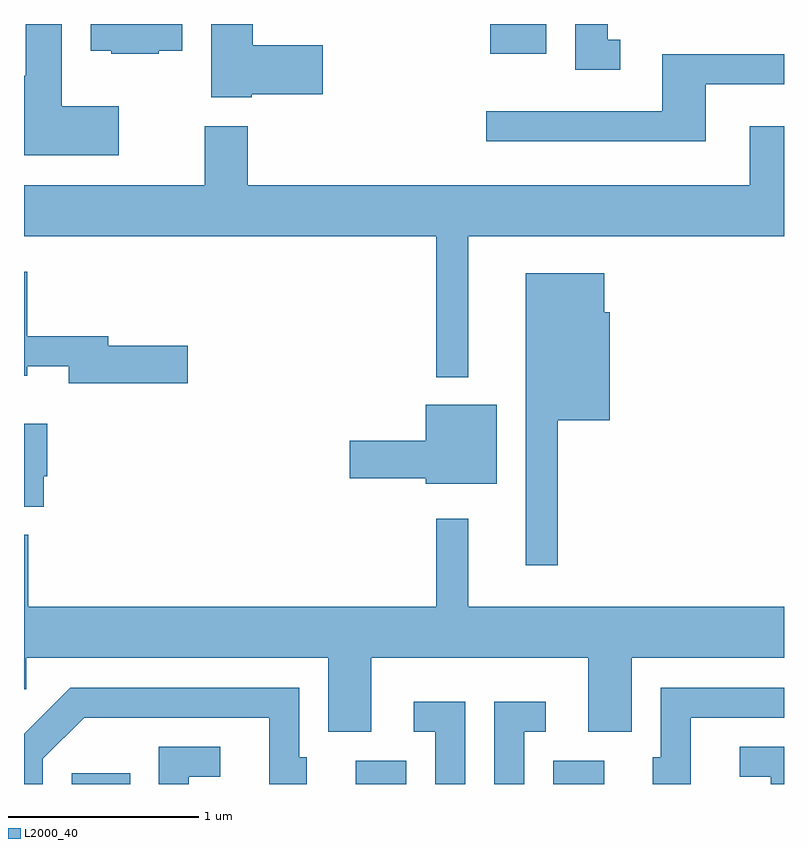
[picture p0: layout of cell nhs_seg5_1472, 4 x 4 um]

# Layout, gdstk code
import gdstk
lib = gdstk.Library(unit=1e-6, precision=1e-09)
def R(c, l, rs):  # rectangles x0, y0, x1, y1
    for r in rs: c.add(gdstk.rectangle(r[:2], r[2:], *l))
def P(c, l, *ps):  # polygons
    for p in ps: c.add(gdstk.Polygon(p, *l))
L2000_40 = (2000, 40)

nhs_seg5_1472 = lib.new_cell('nhs_seg5_1472')
R(nhs_seg5_1472, L2000_40, [(227.861,1516.072,228.169,1516.129), (229.356,1516.072,229.624,1516.194), (230.396,1516.072,230.664,1516.194), (230.066,1519.916,230.359,1520.072)])
P(nhs_seg5_1472, L2000_40, [(228.32,1519.931),(228.444,1519.931),(228.444,1520.072),(227.961,1520.072),(227.961,1519.931),(228.07,1519.931),(228.07,1519.916),(228.32,1519.916)],
  [(230.748,1519.989),(230.684,1519.989),(230.684,1520.072),(230.511,1520.072),(230.511,1519.831),(230.748,1519.831)],
  [(228.109,1519.639),(227.809,1519.639),(227.809,1520.072),(227.621,1520.072),(227.621,1519.799),(227.611,1519.799),(227.611,1519.381),(228.109,1519.381)],
  [(228.81,1519.701),(229.184,1519.701),(229.184,1519.959),(228.814,1519.959),(228.814,1520.072),(228.596,1520.072),(228.596,1519.686),(228.81,1519.686)],
  [(231.199,1519.756),(231.611,1519.756),(231.611,1519.914),(230.971,1519.914),(230.971,1519.614),(230.043,1519.614),(230.043,1519.456),(231.199,1519.456)],
  [(229.949,1518.956),(231.611,1518.956),(231.611,1519.534),(231.431,1519.534),(231.431,1519.224),(228.789,1519.224),(228.789,1519.534),(228.561,1519.534),(228.561,1519.224),(227.611,1519.224),(227.611,1518.956),(229.781,1518.956),(229.781,1518.213),(229.949,1518.213)],
  [(228.474,1518.379),(228.054,1518.379),(228.054,1518.429),(227.629,1518.429),(227.629,1518.768),(227.611,1518.768),(227.611,1518.221),(227.629,1518.221),(227.629,1518.271),(227.846,1518.271),(227.846,1518.181),(228.474,1518.181)],
  [(230.419,1517.986),(230.694,1517.986),(230.694,1518.554),(230.664,1518.554),(230.664,1518.759),(230.251,1518.759),(230.251,1517.223),(230.419,1517.223)],
  [(230.099,1518.069),(229.726,1518.069),(229.726,1517.879),(229.326,1517.879),(229.326,1517.681),(229.726,1517.681),(229.726,1517.651),(230.099,1517.651)],
  [(227.714,1517.691),(227.734,1517.691),(227.734,1517.969),(227.611,1517.969),(227.611,1517.531),(227.714,1517.531)],
  [(229.439,1516.736),(230.581,1516.736),(230.581,1516.346),(230.809,1516.346),(230.809,1516.736),(231.611,1516.736),(231.611,1517.004),(229.949,1517.004),(229.949,1517.468),(229.781,1517.468),(229.781,1517.004),(227.634,1517.004),(227.634,1517.383),(227.611,1517.383),(227.611,1516.571),(227.624,1516.571),(227.624,1516.736),(229.211,1516.736),(229.211,1516.346),(229.439,1516.346)],
  [(231.119,1516.421),(231.611,1516.421),(231.611,1516.579),(230.961,1516.579),(230.961,1516.214),(230.921,1516.214),(230.921,1516.072),(231.119,1516.072)],
  [(227.709,1516.204),(227.927,1516.421),(228.901,1516.421),(228.901,1516.072),(229.099,1516.072),(229.099,1516.214),(229.059,1516.214),(229.059,1516.579),(227.854,1516.579),(227.611,1516.337),(227.611,1516.072),(227.709,1516.072)],
  [(229.934,1516.504),(229.663,1516.504),(229.663,1516.346),(229.776,1516.346),(229.776,1516.072),(229.934,1516.072)],
  [(230.244,1516.346),(230.358,1516.346),(230.358,1516.504),(230.086,1516.504),(230.086,1516.072),(230.244,1516.072)],
  [(231.611,1516.269),(231.378,1516.269),(231.378,1516.111),(231.541,1516.111),(231.541,1516.072),(231.611,1516.072)],
  [(228.479,1516.111),(228.643,1516.111),(228.643,1516.269),(228.321,1516.269),(228.321,1516.072),(228.479,1516.072)])

lib.write_gds('nhs_seg5_1472.gds')
